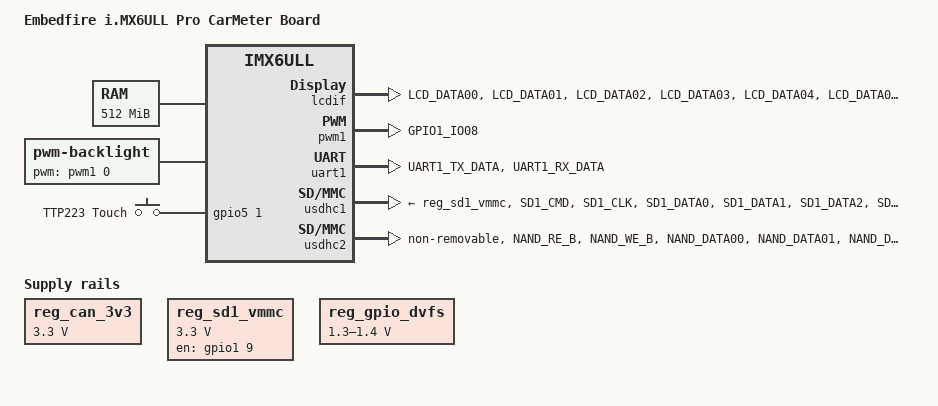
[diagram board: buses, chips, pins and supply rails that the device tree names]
/*
 * CarMeter Pro Board DTS - derived from imx6ull-14x14-evk.dts (Freescale)
 * Trimmed for CarMeter needs:
 *   - Removed: audio (sai2/wm8960), camera (csi/ov5640), QSPI NOR, TSC touch, SPI4 74hc595
 *   - Added: gpio-keys (TTP223 touch), gpio-leds buzzer (active buzzer on GPIO5_IO01)
 *   - Modified: LCD timing 5" 800x480 (was 4.3" 480x272), usdhc2 4-bit
 */

/dts-v1/;

#include <dt-bindings/input/input.h>
#include <dt-bindings/gpio/gpio.h>
#include "imx6ull.dtsi"

/ {
	model = "Embedfire i.MX6ULL Pro CarMeter Board";
	compatible = "fsl,imx6ull-carmeter-pro", "fsl,imx6ull";

	chosen {
		stdout-path = &uart1;
		// random.trust_cpu=1: 信任 CPU 熵, 让 crng init 几秒而非 100+ 秒 (开发板无 hwrng, 否则 busybox login 等 random 阻塞 60 秒)
		bootargs = "random.trust_cpu=1";
	};

	memory {
		reg = <0x80000000 0x20000000>;
	};

	reserved-memory {
		#address-cells = <1>;
		#size-cells = <1>;
		ranges;

		linux,cma {
			compatible = "shared-dma-pool";
			reusable;
			size = <0x14000000>;
			linux,cma-default;
		};
	};

	backlight {
		compatible = "pwm-backlight";
		pwms = <&pwm1 0 5000000>;
		brightness-levels = <0 4 8 16 32 64 128 255>;
		default-brightness-level = <7>;
		status = "okay";
	};

	regulators {
		compatible = "simple-bus";
		#address-cells = <1>;
		#size-cells = <0>;

		reg_can_3v3: regulator@0 {
			compatible = "regulator-fixed";
			reg = <0>;
			regulator-name = "can-3v3";
			regulator-min-microvolt = <3300000>;
			regulator-max-microvolt = <3300000>;
			/* Pro 板无 74hc595, CAN 电源常开 (原 evk 用 gpio_spi 3 控制) */
		};

		reg_sd1_vmmc: regulator@1 {
			compatible = "regulator-fixed";
			regulator-name = "VSD_3V3";
			regulator-min-microvolt = <3300000>;
			regulator-max-microvolt = <3300000>;
			gpio = <&gpio1 9 GPIO_ACTIVE_HIGH>;
			off-on-delay = <20000>;
			enable-active-high;
		};

		reg_gpio_dvfs: regulator-gpio {
			compatible = "regulator-gpio";
			pinctrl-names = "default";
			pinctrl-0 = <&pinctrl_dvfs>;
			regulator-min-microvolt = <1300000>;
			regulator-max-microvolt = <1400000>;
			regulator-name = "gpio_dvfs";
			regulator-type = "voltage";
			gpios = <&gpio5 3 GPIO_ACTIVE_HIGH>;
			states = <1300000 0x1 1400000 0x0>;
		};
	};

	/* TTP223 touch button on GPIO5_IO01 = SNVS_TAMPER1
	 * 跟野火官方 imx-fire-key-overlay.dts 1:1 一致（已实测 KEY_0 事件正常）
	 * 极性 ACTIVE_HIGH（TTP223 AHLB=GND 默认 momentary，TOG 输出按下拉低、空载高）
	 * 注释: GPIO5_IO01 与 CarMeter Pro 板蜂鸣器硬件同 pin 冲突 → buzzer 节点 disabled
	 */
	gpio-keys {
		compatible = "gpio-keys";
		pinctrl-names = "default";
		pinctrl-0 = <&pinctrl_gpio_keys>;

		touch_key {
			label = "TTP223 Touch";
			gpios = <&gpio5 1 GPIO_ACTIVE_HIGH>;
			linux,code = <KEY_0>;
		};
	};

	/* Buzzer disabled - 硬件冲突:
	 * - 野火 overlay 证实 TTP223 在 GPIO5_IO01
	 * - 我们的 buzzer 也在 GPIO5_IO01 → 同 pin 只能一个工作
	 * - 实测: buzzer 无论 ACTIVE_HIGH 还是 ACTIVE_LOW 都不响 → 蜂鸣器电路坏了 or 没接这脚
	 * - 决策: 保 TTP223（仪表盘必须输入键），buzzer 节点 status="disabled"
	 * - 后续 M2+ 可考虑: 把 buzzer 移到 free GPIO（如 GPIO4_IO20 / GPIO3_IO21）
	 */
	gpio-buzzer {
		compatible = "gpio-leds";
		status = "disabled";
	};
};

&cpu0 {
	dc-supply = <&reg_gpio_dvfs>;
};

&clks {
	assigned-clocks = <&clks IMX6UL_CLK_PLL4_AUDIO_DIV>;
	assigned-clock-rates = <786432000>;
};

&flexcan1 {
	pinctrl-names = "default";
	pinctrl-0 = <&pinctrl_flexcan1>;
	xceiver-supply = <&reg_can_3v3>;
	status = "disabled";	/* CAN 暂不使用, can0 不存在 */
};

&gpc {
	fsl,cpu_pupscr_sw2iso = <0xf>;
	fsl,cpu_pupscr_sw = <0x0>;
	fsl,cpu_pdnscr_iso2sw = <0x1>;
	fsl,cpu_pdnscr_iso = <0x1>;
	fsl,ldo-bypass = <0>; /* DCDC, ldo-enable */
};

&iomuxc {
	pinctrl-names = "default";
	pinctrl-0 = <&pinctrl_hog_1>;
	pinctrl_hog_1: hoggrp-1 {
		fsl,pins = <
			MX6UL_PAD_UART1_RTS_B__GPIO1_IO19	0x17059 /* buzzer (ADR-0002, libgpiod 控制) */
			MX6UL_PAD_GPIO1_IO05__USDHC1_VSELECT	0x17059 /* SD1 VSELECT */
			MX6UL_PAD_GPIO1_IO09__GPIO1_IO09        0x17059 /* SD1 RESET */
		>;
	};

	/* pinctrl_csi1 (camera) removed - CarMeter doesn't need camera */

	pinctrl_flexcan1: flexcan1grp{
		fsl,pins = <
			MX6UL_PAD_UART3_RTS_B__FLEXCAN1_RX	0x1b020
			MX6UL_PAD_UART3_CTS_B__FLEXCAN1_TX	0x1b020
		>;
	};

	pinctrl_flexcan2: flexcan2grp{
		fsl,pins = <
			MX6UL_PAD_UART2_RTS_B__FLEXCAN2_RX	0x1b020
			MX6UL_PAD_UART2_CTS_B__FLEXCAN2_TX	0x1b020
		>;
	};

	pinctrl_lcdif_dat: lcdifdatgrp {
		fsl,pins = <
			MX6UL_PAD_LCD_DATA00__LCDIF_DATA00  0x79
			MX6UL_PAD_LCD_DATA01__LCDIF_DATA01  0x79
			MX6UL_PAD_LCD_DATA02__LCDIF_DATA02  0x79
			MX6UL_PAD_LCD_DATA03__LCDIF_DATA03  0x79
			MX6UL_PAD_LCD_DATA04__LCDIF_DATA04  0x79
			MX6UL_PAD_LCD_DATA05__LCDIF_DATA05  0x79
			MX6UL_PAD_LCD_DATA06__LCDIF_DATA06  0x79
			MX6UL_PAD_LCD_DATA07__LCDIF_DATA07  0x79
			MX6UL_PAD_LCD_DATA08__LCDIF_DATA08  0x79
			MX6UL_PAD_LCD_DATA09__LCDIF_DATA09  0x79
			MX6UL_PAD_LCD_DATA10__LCDIF_DATA10  0x79
			MX6UL_PAD_LCD_DATA11__LCDIF_DATA11  0x79
			MX6UL_PAD_LCD_DATA12__LCDIF_DATA12  0x79
			MX6UL_PAD_LCD_DATA13__LCDIF_DATA13  0x79
			MX6UL_PAD_LCD_DATA14__LCDIF_DATA14  0x79
			MX6UL_PAD_LCD_DATA15__LCDIF_DATA15  0x79
			MX6UL_PAD_LCD_DATA16__LCDIF_DATA16  0x79
			MX6UL_PAD_LCD_DATA17__LCDIF_DATA17  0x79
			MX6UL_PAD_LCD_DATA18__LCDIF_DATA18  0x79
			MX6UL_PAD_LCD_DATA19__LCDIF_DATA19  0x79
			MX6UL_PAD_LCD_DATA20__LCDIF_DATA20  0x79
			MX6UL_PAD_LCD_DATA21__LCDIF_DATA21  0x79
			MX6UL_PAD_LCD_DATA22__LCDIF_DATA22  0x79
			MX6UL_PAD_LCD_DATA23__LCDIF_DATA23  0x79
		>;
	};

	pinctrl_lcdif_ctrl: lcdifctrlgrp {
		fsl,pins = <
			MX6UL_PAD_LCD_CLK__LCDIF_CLK	    0x79
			MX6UL_PAD_LCD_ENABLE__LCDIF_ENABLE  0x79
			MX6UL_PAD_LCD_HSYNC__LCDIF_HSYNC    0x79
			MX6UL_PAD_LCD_VSYNC__LCDIF_VSYNC    0x79
		>;
	};

	pinctrl_pwm1: pwm1grp {
		fsl,pins = <
			MX6UL_PAD_GPIO1_IO08__PWM1_OUT   0x110b0
		>;
	};

	/* pinctrl_qspi (NOR flash) removed - CarMeter uses eMMC */
/* pinctrl_sai2 (audio) removed - CarMeter doesn't need audio */
/* pinctrl_tsc (touchscreen) removed - replaced with gpio_keys */
/* pinctrl_gpio_keys moved to &iomuxc_snvs - 野火官方 imx-fire-key-overlay.dts 写法 */

	pinctrl_uart1: uart1grp {
		fsl,pins = <
			MX6UL_PAD_UART1_TX_DATA__UART1_DCE_TX 0x1b0b1
			MX6UL_PAD_UART1_RX_DATA__UART1_DCE_RX 0x1b0b1
		>;
	};

	pinctrl_usdhc1: usdhc1grp {
		fsl,pins = <
			MX6UL_PAD_SD1_CMD__USDHC1_CMD     0x17059
			MX6UL_PAD_SD1_CLK__USDHC1_CLK     0x10071
			MX6UL_PAD_SD1_DATA0__USDHC1_DATA0 0x17059
			MX6UL_PAD_SD1_DATA1__USDHC1_DATA1 0x17059
			MX6UL_PAD_SD1_DATA2__USDHC1_DATA2 0x17059
			MX6UL_PAD_SD1_DATA3__USDHC1_DATA3 0x17059
		>;
	};

	pinctrl_usdhc1_100mhz: usdhc1grp100mhz {
		fsl,pins = <
			MX6UL_PAD_SD1_CMD__USDHC1_CMD     0x170b9
			MX6UL_PAD_SD1_CLK__USDHC1_CLK     0x100b9
			MX6UL_PAD_SD1_DATA0__USDHC1_DATA0 0x170b9
			MX6UL_PAD_SD1_DATA1__USDHC1_DATA1 0x170b9
			MX6UL_PAD_SD1_DATA2__USDHC1_DATA2 0x170b9
			MX6UL_PAD_SD1_DATA3__USDHC1_DATA3 0x170b9
		>;
	};

	pinctrl_usdhc1_200mhz: usdhc1grp200mhz {
		fsl,pins = <
			MX6UL_PAD_SD1_CMD__USDHC1_CMD     0x170f9
			MX6UL_PAD_SD1_CLK__USDHC1_CLK     0x100f9
			MX6UL_PAD_SD1_DATA0__USDHC1_DATA0 0x170f9
			MX6UL_PAD_SD1_DATA1__USDHC1_DATA1 0x170f9
			MX6UL_PAD_SD1_DATA2__USDHC1_DATA2 0x170f9
			MX6UL_PAD_SD1_DATA3__USDHC1_DATA3 0x170f9
		>;
	};

	pinctrl_usdhc2: usdhc2grp {
		fsl,pins = <
			MX6UL_PAD_NAND_RE_B__USDHC2_CLK     0x10069
			MX6UL_PAD_NAND_WE_B__USDHC2_CMD     0x17059
			MX6UL_PAD_NAND_DATA00__USDHC2_DATA0 0x17059
			MX6UL_PAD_NAND_DATA01__USDHC2_DATA1 0x17059
			MX6UL_PAD_NAND_DATA02__USDHC2_DATA2 0x17059
			MX6UL_PAD_NAND_DATA03__USDHC2_DATA3 0x17059
		>;
	};

	pinctrl_usdhc2_8bit: usdhc2grp_8bit {
		fsl,pins = <
			MX6UL_PAD_NAND_RE_B__USDHC2_CLK     0x10069
			MX6UL_PAD_NAND_WE_B__USDHC2_CMD     0x17059
			MX6UL_PAD_NAND_DATA00__USDHC2_DATA0 0x17059
			MX6UL_PAD_NAND_DATA01__USDHC2_DATA1 0x17059
			MX6UL_PAD_NAND_DATA02__USDHC2_DATA2 0x17059
			MX6UL_PAD_NAND_DATA03__USDHC2_DATA3 0x17059
			MX6UL_PAD_NAND_DATA04__USDHC2_DATA4 0x17059
			MX6UL_PAD_NAND_DATA05__USDHC2_DATA5 0x17059
			MX6UL_PAD_NAND_DATA06__USDHC2_DATA6 0x17059
			MX6UL_PAD_NAND_DATA07__USDHC2_DATA7 0x17059
		>;
	};

	pinctrl_usdhc2_8bit_100mhz: usdhc2grp_8bit_100mhz {
		fsl,pins = <
			MX6UL_PAD_NAND_RE_B__USDHC2_CLK     0x100b9
			MX6UL_PAD_NAND_WE_B__USDHC2_CMD     0x170b9
			MX6UL_PAD_NAND_DATA00__USDHC2_DATA0 0x170b9
			MX6UL_PAD_NAND_DATA01__USDHC2_DATA1 0x170b9
			MX6UL_PAD_NAND_DATA02__USDHC2_DATA2 0x170b9
			MX6UL_PAD_NAND_DATA03__USDHC2_DATA3 0x170b9
			MX6UL_PAD_NAND_DATA04__USDHC2_DATA4 0x170b9
			MX6UL_PAD_NAND_DATA05__USDHC2_DATA5 0x170b9
			MX6UL_PAD_NAND_DATA06__USDHC2_DATA6 0x170b9
			MX6UL_PAD_NAND_DATA07__USDHC2_DATA7 0x170b9
		>;
	};

	pinctrl_usdhc2_8bit_200mhz: usdhc2grp_8bit_200mhz {
		fsl,pins = <
			MX6UL_PAD_NAND_RE_B__USDHC2_CLK     0x100f9
			MX6UL_PAD_NAND_WE_B__USDHC2_CMD     0x170f9
			MX6UL_PAD_NAND_DATA00__USDHC2_DATA0 0x170f9
			MX6UL_PAD_NAND_DATA01__USDHC2_DATA1 0x170f9
			MX6UL_PAD_NAND_DATA02__USDHC2_DATA2 0x170f9
			MX6UL_PAD_NAND_DATA03__USDHC2_DATA3 0x170f9
			MX6UL_PAD_NAND_DATA04__USDHC2_DATA4 0x170f9
			MX6UL_PAD_NAND_DATA05__USDHC2_DATA5 0x170f9
			MX6UL_PAD_NAND_DATA06__USDHC2_DATA6 0x170f9
			MX6UL_PAD_NAND_DATA07__USDHC2_DATA7 0x170f9
		>;
	};

	pinctrl_wdog: wdoggrp {
		fsl,pins = <
			MX6UL_PAD_LCD_RESET__WDOG1_WDOG_ANY    0x30b0
		>;
	};
};

&iomuxc_snvs {
	pinctrl-names = "default_snvs";
	pinctrl-0 = <&pinctrl_hog_2>;
	imx6ul-evk {
		pinctrl_hog_2: hoggrp-2 {
			fsl,pins = <
				MX6ULL_PAD_SNVS_TAMPER0__GPIO5_IO00      0x80000000
			>;
		};

		pinctrl_dvfs: dvfsgrp {
			fsl,pins = <
				MX6ULL_PAD_SNVS_TAMPER3__GPIO5_IO03      0x79
			>;
		};

		pinctrl_lcdif_reset: lcdifresetgrp {
			fsl,pins = <
				/* used for lcd reset */
				MX6ULL_PAD_SNVS_TAMPER9__GPIO5_IO09  0x79
			>;
		};

		/* TTP223 touch button - 野火官方 imx-fire-key-overlay.dts 1:1 复制
		 * Pin: MX6UL_PAD_SNVS_TAMPER1__GPIO5_IO01 (在 SNVS 域)
		 * Pad value 0x000110A1 = HYS 0 + PUS 100K up + PUE 1 + PKE 1 + ODE 0 + SPEED medium + DSE X1 + SRE 0
		 */
		pinctrl_gpio_keys: gpiokeysgrp {
			fsl,pins = <
				MX6UL_PAD_SNVS_TAMPER1__GPIO5_IO01	0x000110A1
			>;
		};
	};
};


&lcdif {
	pinctrl-names = "default";
	pinctrl-0 = <&pinctrl_lcdif_dat
		&pinctrl_lcdif_ctrl
		&pinctrl_lcdif_reset>;
	display = <&display0>;
	status = "okay";

	display0: display@0 {
		bits-per-pixel = <16>;
		bus-width = <24>;

		display-timings {
			native-mode = <&timing0>;
			timing0: timing0 {
			/* 5" RGB 800x480 timing (野火 Pro 板 5寸 RGB LCD) */
			clock-frequency = <27000000>;
			hactive = <800>;
			vactive = <480>;
			hfront-porch = <40>;
			hback-porch  = <46>;
			hsync-len    = <1>;
			vback-porch  = <23>;
			vfront-porch = <13>;
			vsync-len    = <3>;

			hsync-active = <0>;
			vsync-active = <0>;
			de-active = <1>;
			pixelclk-active = <0>;
			};
		};
	};
};

&pwm1 {
	pinctrl-names = "default";
	pinctrl-0 = <&pinctrl_pwm1>;
	status = "okay";
};

&uart1 {
	pinctrl-names = "default";
	pinctrl-0 = <&pinctrl_uart1>;
	status = "okay";
};

/* qspi (NOR flash) - removed for CarMeter, uses eMMC */
/* sai2 (audio) - removed for CarMeter */
/* tsc (touch screen controller) - removed, CarMeter doesn't need touchscreen */
/* uart2 - removed for CarMeter, only uart1 (console) used */
/* usbotg1/usbotg2/usbphy1/usbphy2 - removed for CarMeter, no USB devices */
/* pxp/pxp_v4l2 - removed for CarMeter, no video processing */

&usdhc1 {
	pinctrl-names = "default", "state_100mhz", "state_200mhz";
	pinctrl-0 = <&pinctrl_usdhc1>;
	pinctrl-1 = <&pinctrl_usdhc1_100mhz>;
	pinctrl-2 = <&pinctrl_usdhc1_200mhz>;
	/* GPIO1_IO19 让给 buzzer (ADR-0002), SD 卡假定总在 (broken-cd, CarMeter SD 固定无热插拔) */
	broken-cd;
	keep-power-in-suspend;
	enable-sdio-wakeup;
	vmmc-supply = <&reg_sd1_vmmc>;
	status = "okay";
};

&usdhc2 {
	pinctrl-names = "default", "state_100mhz", "state_200mhz";
	pinctrl-0 = <&pinctrl_usdhc2_8bit>;
	pinctrl-1 = <&pinctrl_usdhc2_8bit_100mhz>;
	pinctrl-2 = <&pinctrl_usdhc2_8bit_200mhz>;
	non-removable;
	status = "okay";
};

&wdog1 {
	pinctrl-names = "default";
	pinctrl-0 = <&pinctrl_wdog>;
	fsl,ext-reset-output;
};
